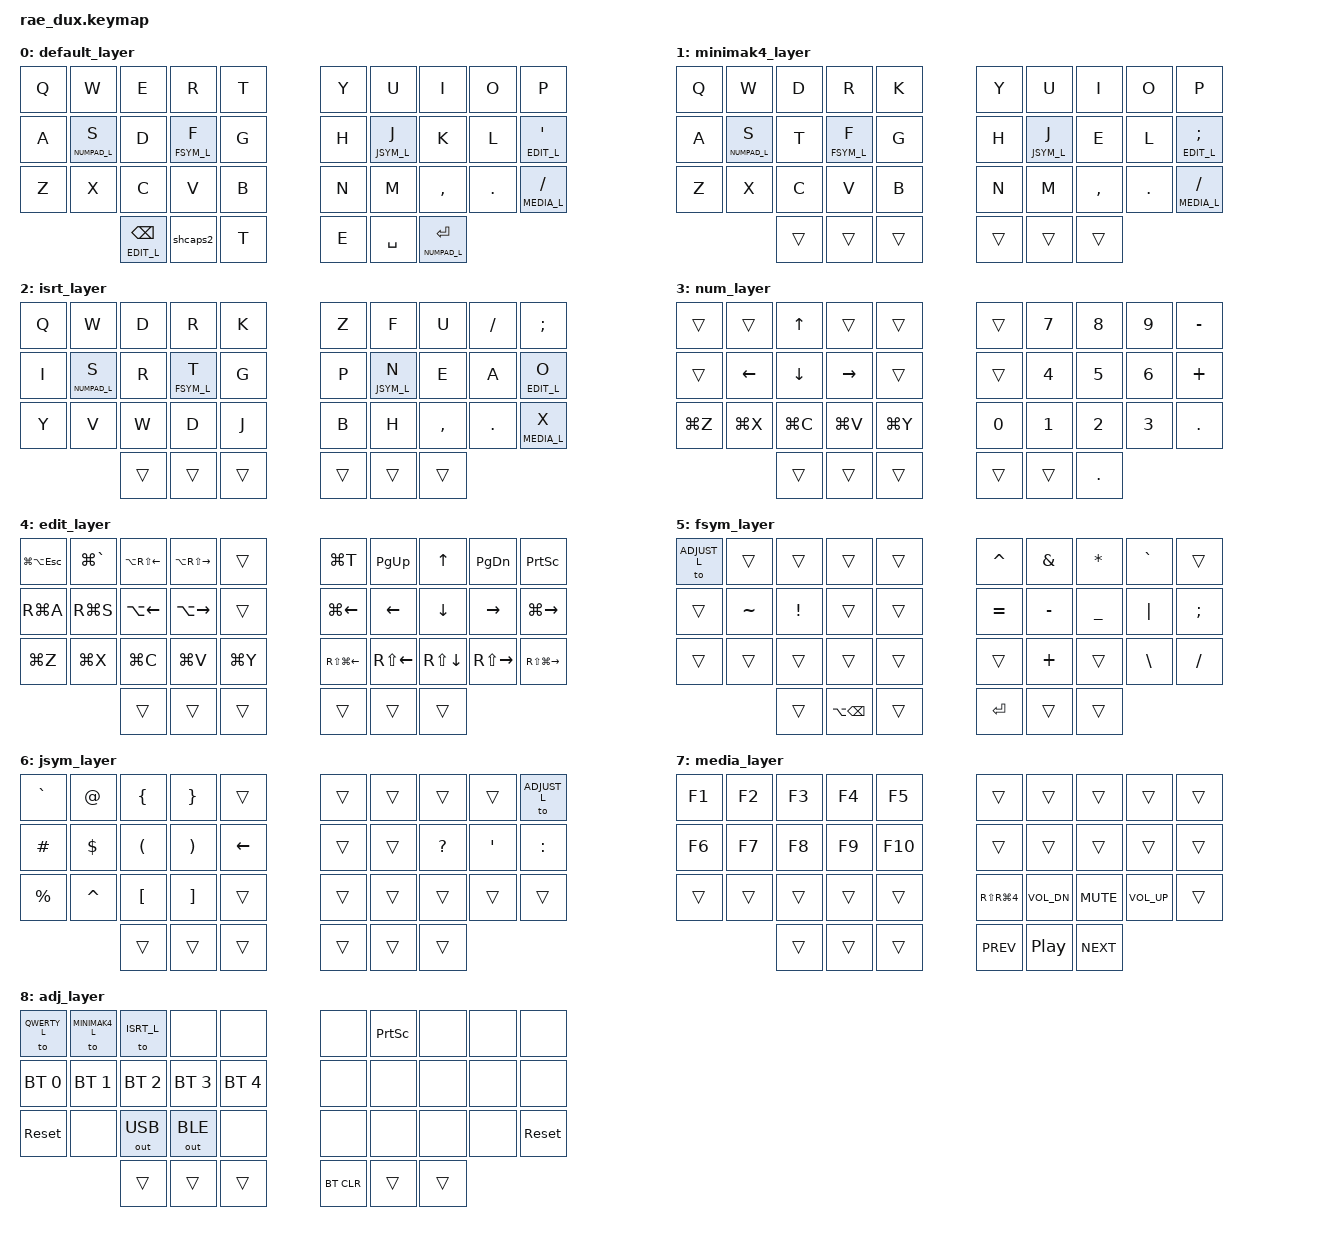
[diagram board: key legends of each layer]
/*
 * Copyright (c) 2021 The ZMK Contributors
 *
 * SPDX-License-Identifier: MIT
 */

#include <behaviors.dtsi>
#include <dt-bindings/zmk/bt.h>
#include <dt-bindings/zmk/keys.h>
#include <dt-bindings/zmk/outputs.h>


#define QWERTY_L 0
#define MINIMAK4_L 1
#define ISRT_L 2
#define NUMPAD_L 3
#define EDIT_L 4
#define FSYM_L 5
#define JSYM_L 6
#define MEDIA_L 7
#define ADJUST_L 8

#define R_UNDO      LG(Z)
#define R_REDO      LG(Y)
#define R_CUT       LG(X)
#define R_COPY      LG(C)
#define R_PASTE     LG(V)
#define R_SAVE      RG(S)
#define NEW_TAB     LG(T)
#define SWP_WND     LG(GRAVE)
#define R_HOME      LG(LEFT)
#define R_END       LG(RIGHT)
#define ZOOM_IN     LG(EQUAL)
#define ZOOM_OUT    LG(MINUS)
#define L_DSK       LC(LEFT)
#define R_DSK       LC(RIGHT)
#define DEL_WRD     LA(BSPC)
#define MVW_LEFT    LA(LEFT) 
#define MVW_RIGHT   LA(RIGHT)
#define SELW_LEFT   LA(RS(LEFT))
#define SELW_RIGHT  LA(RS(RIGHT))
#define TASK_MAN    LG(LA(ESCAPE))
#define SEL_HOME    RS(LG(LEFT))
#define SEL_END     RS(LG(RIGHT))
#define SEL_LEFT    RS(LEFT)
#define SEL_DOWN    RS(DOWN)
#define SEL_RIGHT   RS(RIGHT)
#define R_SCRNSHT   RS(RG(N4))
#define SFTCMD      RS(RGUI)
#define SEL_ALL     RG(A)
#define SWP_APP     RG(TAB)


#define R_UNDO      LG(Z)
#define R_REDO      LG(Y)
#define R_CUT       LG(X)
#define R_COPY      LG(C)
#define R_PASTE     LG(V)
#define R_SAVE      RG(S)
#define NEW_TAB     LG(T)
#define SWP_WND     LG(GRAVE)
#define R_HOME      LG(LEFT)
#define R_END       LG(RIGHT)
#define ZOOM_IN     LG(EQUAL)
#define ZOOM_OUT    LG(MINUS)
#define L_DSK       LC(LEFT)
#define R_DSK       LC(RIGHT)
#define DEL_WRD     LA(BSPC)
#define MVW_LEFT    LA(LEFT) 
#define MVW_RIGHT   LA(RIGHT)
#define SELW_LEFT   LA(RS(LEFT))
#define SELW_RIGHT  LA(RS(RIGHT))
#define TASK_MAN    LG(LA(ESCAPE))
#define SEL_HOME    RS(LG(LEFT))
#define SEL_END     RS(LG(RIGHT))
#define SEL_LEFT    RS(LEFT)
#define SEL_DOWN    RS(DOWN)
#define SEL_RIGHT   RS(RIGHT)
#define R_SCRNSHT   RS(RG(N4))
#define SFTCMD      RS(RGUI)
#define SEL_ALL     RG(A)
#define SWP_APP     RG(TAB)

&sk {
    release-after-ms = <900>;
    quick-release;
};
&lt { quick_tap_ms = <200>; };

/ {
    combos {
        compatible = "zmk,combos";

    // shortcut
    #define COMBO(NAME, BINDINGS, KEYPOS, TIMEOUT) \
        combo_##NAME { \
            timeout-ms = <TIMEOUT>; \
            bindings = <BINDINGS>; \
            layers = <0>; \
            key-positions = <KEYPOS>; \
    };

    #define COMBO2(NAME, BINDINGS, KEYPOS, TIMEOUT) \
        combo_##NAME { \
            timeout-ms = <TIMEOUT>; \
            bindings = <BINDINGS>; \
            layers = <0>; \
            require-prior-idle-ms = 20; \
            key-positions = <KEYPOS>; \
    };
       

        /*                KEY POSITIONS

          ╭────────────────────╮╭────────────────────╮
          │ 0   1   2   3   4  ││  5   6   7   8   9 │
          │ 10  11  12  13  14 ││ 15  16  17  18  19 │
          │ 20  21  22  23  24 ││ 25  26  27  28  29 │
          ╰───────╮ 30  31  32 ││ 33  34  35 ╭───────╯
                  ╰────────────╯╰────────────╯        */

        COMBO(tab,     &kp TAB,    14 24,    30)
        COMBO(escape,  &kp ESCAPE, 4 5,    30)
        COMBO(scl,     &kp SEMI,    19 29,    30)
        COMBO(dskr,    &kp R_DSK,  28 29,   30)
        COMBO(dskl,    &kp L_DSK,  20 21,   30)
        //COMBO(equal, &kp EQUAL, 12 23, 100)
        COMBO(enter, &kp ENTER, 12 17, 30)
        COMBO(reset_l, &bootloader, 0 1 2 3, 100)
        COMBO(reset_right, &bootloader, 6 7 8 9, 100)
        // dude cross-hand combos are awesome! 
        // put in cross-hand homerow mod sticky combos???? 
        COMBO(rcmd, &sk RGUI, 6 16, 30)
        COMBO(ropt, &sk RALT, 7 17, 30)
        COMBO(rctrl, &sk RCTRL, 8 18, 30)
        //COMBO(rcmdctrl, &sk RGUI &sk RCTRL, 13 22, 30)
        COMBO(rsftcmd,  &sk RS(RGUI),  5 15, 30)
        COMBO(lcmd, &sk LGUI, 3 13, 30)
        COMBO(lopt, &sk LALT, 2 12, 30)
        COMBO(lctrl, &sk LCTRL, 1 11, 30)
        //COMBO(lcmdctrl, &sk RGUI &sk RCTRL, 13 22, 30)
        COMBO(lsftcmd,  &sk LS(LGUI),  4 14, 30)
    };

    macros {
        ZMK_MACRO(pair_par, wait-ms = <30>; tap-ms = <40>; bindings = <&kp LPAR &kp RPAR>;)
        ZMK_MACRO(pair_par2, wait-ms = <30>; tap-ms = <40>; bindings = <&kp LPAR &kp RPAR>, <&kp LEFT>;)
        ZMK_MACRO(pair_brc, wait-ms = <30>; tap-ms = <40>; bindings = <&kp LBRC &kp RBRC>;)
        ZMK_MACRO(pair_brc2, wait-ms = <30>; tap-ms = <40>; bindings = <&kp LBRC &kp RBRC>, <&kp LEFT>;)
        ZMK_MACRO(pair_bkt, wait-ms = <30>; tap-ms = <40>; bindings = <&kp LBKT &kp RBKT>;)
        ZMK_MACRO(pair_bkt2, wait-ms = <30>; tap-ms = <40>; bindings = <&kp LBKT &kp RBKT>, <&kp LEFT>;)
        ZMK_MACRO(ltgt_pair, wait-ms = <30>; tap-ms = <40>; bindings = <&kp LT &kp GT>, <&kp LEFT>;)
        ZMK_MACRO(up3, wait-ms = <30>; tap-ms = <40>; bindings = <&kp UP &kp UP &kp UP>;)
        ZMK_MACRO(down3, wait-ms = <30>; tap-ms = <40>; bindings = <&kp DOWN &kp DOWN &kp DOWN>;)
        ZMK_MACRO(squotes, wait-ms = <30>; tap-ms = <40>; bindings = <&kp SQT &kp SQT &kp LEFT>;)
        ZMK_MACRO(dquotes, wait-ms = <30>; tap-ms = <40>; bindings = <&kp DQT &kp DQT &kp LEFT>;)
        };

    behaviors {
        #define TAPDANCE(name,...) \
            name: name { \
            compatible = "zmk,behavior-tap-dance"; \
            #binding-cells = <0>; \
            __VA_ARGS__ \
        };
        ht: hold-tap {
                compatible = "zmk,behavior-hold-tap";
                label = "HOLD_TAP";
                #binding-cells = <2>;
                flavor = "hold-preferred";
                tapping-term-ms = <400>;
                quick-tap-ms = <200>;
                bindings = <&kp>, <&kp>;
        };
        TAPDANCE(bkfwd, tapping-term-ms = <300>; bindings = <&kp LG(LEFT)>, <&kp LG(RIGHT)>;)
        TAPDANCE(td1, tapping-term-ms = <300>; bindings = <&sk RGUI>, <&sk RALT>, <&sk RCTRL>;)
        TAPDANCE(td2, tapping-term-ms = <300>; bindings = <&sk RALT>, <&sk RGUI>, <&sk RCTRL>;)
        TAPDANCE(shcaps, tapping-term-ms = <300>; bindings = <&sk LSHIFT>, <&caps_word>;)
        TAPDANCE(shcaps2, tapping-term-ms = <300>; bindings = <&sk LSHIFT>, <&caps_word>, <&kp CAPSLOCK>;)
        TAPDANCE(td_par_pair, tapping-term-ms = <300>; bindings = <&kp LPAR>, <&pair_par>, <&pair_par2>;)
        TAPDANCE(td_brc_pair, tapping-term-ms = <300>; bindings = <&kp LBRC>, <&pair_brc>, <&pair_brc2>;)
        TAPDANCE(td_bkt_pair, tapping-term-ms = <300>; bindings = <&kp LBKT>, <&pair_bkt>, <&pair_bkt2>;)
        TAPDANCE(squotespair, tapping-term-ms = <300>; bindings = <&kp SQT>, <&squotes>;)
        TAPDANCE(dquotespair, tapping-term-ms = <300>; bindings = <&kp DQT>, <&dquotes>;)
        sdtdqt: sqt_dqt {
            compatible = "zmk,behavior-mod-morph";
            label = "sqtdqt";
            #binding-cells = <0>;
            bindings = <&squotespair>, <&dquotespair>;
            mods = <(MOD_LSFT|MOD_RSFT)>;
        };
    };

	keymap {
		compatible = "zmk,keymap";

        // RSTHD nope, not brave enough lol
		default_layer {
            bindings = <
            &kp  Q    &kp  W         &kp  E     &kp  R        &kp  T                               &kp  Y    &kp  U        &kp  I        &kp  O     &kp  P           
            &kp  A    &lt NUMPAD_L S &kp  D     &lt FSYM_L  F &kp  G                               &kp  H    &lt JSYM_L J  &kp  K        &kp  L     &lt EDIT_L SQT  
            &kp  Z    &kp  X         &kp  C     &kp  V        &kp  B                               &kp  N    &kp  M        &kp  COMMA    &kp  DOT   &lt MEDIA_L SLASH
            &lt EDIT_L BSPC  &shcaps2 &kp  T    &kp  E  &kp SPACE  &lt NUMPAD_L ENTER 
            >;
        };

        minimak4_layer {
            bindings = <
            &kp  Q    &kp  W         &kp  D    &kp  R        &kp  K                     &kp  Y    &kp  U        &kp  I        &kp  O     &kp  P            
            &kp  A    &lt NUMPAD_L S &kp  T    &lt FSYM_L  F &kp  G                     &kp  H    &lt JSYM_L J  &kp  E        &kp  L     &lt EDIT_L SEMI   
            &kp  Z    &kp  X         &kp  C    &kp  V        &kp  B                     &kp  N    &kp  M        &kp  COMMA    &kp  DOT   &lt MEDIA_L SLASH 
            &trans     &trans    &trans         &trans  &trans  &trans  
            >;
        };

        isrt_layer {
            bindings = <
            &kp  Q    &kp  W         &kp  D    &kp  R        &kp  K                          &kp  Z    &kp  F        &kp  U      &kp  SLASH &kp SEMI       
            &kp  I    &lt NUMPAD_L S &kp  R    &lt FSYM_L  T &kp  G                          &kp  P    &lt JSYM_L N  &kp  E      &kp  A     &lt EDIT_L O   
            &kp  Y    &kp  V         &kp  W    &kp  D        &kp  J                          &kp  B    &kp  H        &kp  COMMA  &kp  DOT   &lt MEDIA_L X  
            &trans     &trans    &trans         &trans  &trans  &trans  
            >;
        };

        num_layer {
            bindings = <
            &trans     &trans    &kp UP     &trans      &trans                  &trans   &kp  N7   &kp  N8   &kp  N9     &kp  MINUS 
            &trans     &kp LEFT  &kp DOWN   &kp RIGHT   &trans                  &trans   &kp  N4   &kp  N5   &kp  N6     &kp  PLUS  
            &kp R_UNDO &kp R_CUT &kp R_COPY &kp R_PASTE &kp R_REDO              &kp N0   &kp  N1   &kp  N2   &kp  N3     &kp  DOT   
            &trans &trans &trans                  &trans  &trans  &kp DOT   

            >;
        };

        edit_layer {
            bindings = <
            &kp TASK_MAN &kp SWP_WND    &kp SELW_LEFT &kp SELW_RIGHT &trans                     &kp NEW_TAB &kp PG_UP &kp UP &kp PG_DN &kp PSCRN
            &kp SEL_ALL  &kp R_SAVE     &kp MVW_LEFT  &kp MVW_RIGHT  &trans                     &kp  R_HOME  &kp LEFT &kp DOWN &kp RIGHT &kp R_END
            &kp R_UNDO   &kp R_CUT &kp R_COPY    &kp R_PASTE    &kp R_REDO                      &kp SEL_HOME &kp SEL_LEFT &kp SEL_DOWN &kp SEL_RIGHT &kp SEL_END
            &trans  &trans  &trans                                                   &trans  &trans  &trans
            >;
        };

        fsym_layer {
            bindings = <
            &to ADJUST_L  &trans  &trans &trans &trans                          &kp CARET &kp AMPS   &kp ASTRK   &kp GRAVE  &trans
            &trans  &kp TILDE &kp EXCL &trans &trans                            &kp EQUAL &kp MINUS  &kp UNDER   &kp PIPE   &kp SEMI
            &trans  &trans  &trans &trans &trans                                &trans    &kp PLUS   &trans      &kp BSLH   &kp SLASH
            &trans &kp DEL_WRD &trans               &kp ENTER &trans &trans 
            >;
        };
        
        jsym_layer {
            bindings = <
            &kp GRAVE &kp AT    &kp LBRC &kp RBRC  &trans                         &trans &trans &trans &trans &to ADJUST_L 
            &kp HASH  &kp DLLR  &kp LPAR &kp RPAR  &kp LEFT                  &trans &trans &kp QMARK &kp SQT &kp COLON 
            &kp PRCNT &kp CARET &kp LBKT &kp RBKT  &trans                     &trans &trans &trans &trans &trans  
            &trans    &trans   &trans               &trans &trans &trans
            >;
        };      

        media_layer {
            bindings = <
            &kp F1 &kp F2 &kp F3 &kp F4  &kp F5                                         &trans &trans &trans &trans &trans
            &kp F6 &kp F7 &kp F8 &kp F9 &kp F10                                         &trans &trans &trans &trans &trans
            &trans &trans &trans &trans  &trans                                         &kp R_SCRNSHT &kp C_VOL_DN &kp K_MUTE &kp C_VOL_UP  &trans  
            &trans  &trans  &trans            &kp C_PREV  &kp C_PP   &kp C_NEXT 
            >;
        };


        adj_layer {
            bindings = <
            &to  QWERTY_L &to  MINIMAK4_L &to  ISRT_L &none         &none                                         &none      &kp PRINTSCREEN    &none  &none  &none
            &bt  BT_SEL 0 &bt  BT_SEL 1 &bt  BT_SEL 2 &bt  BT_SEL 3 &bt  BT_SEL 4                           &none      &none              &none   &none    &none    
            &sys_reset        &none         &out OUT_USB  &out OUT_BLE  &none                                               &none      &none   &none  &none  &sys_reset         
            &trans        &trans        &trans                               &bt BT_CLR    &trans     &trans     
            >;
        };

	};
};
